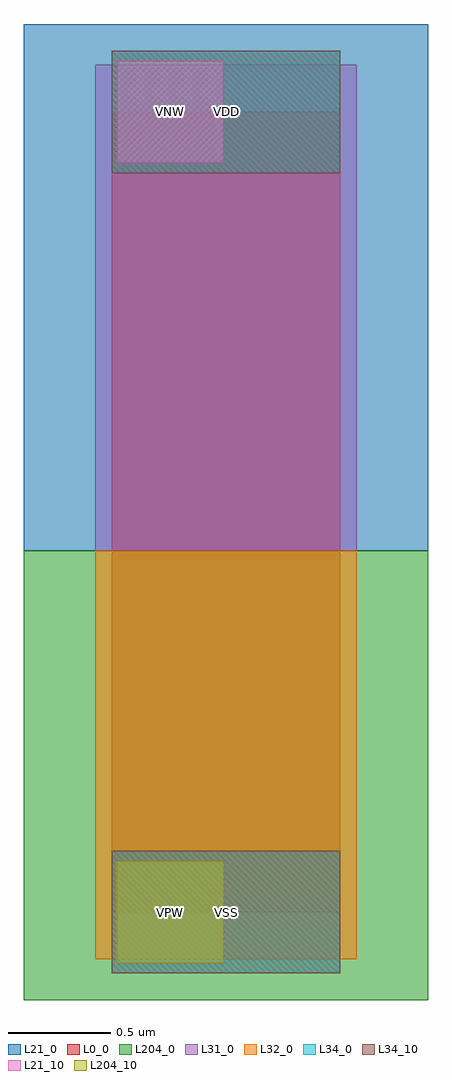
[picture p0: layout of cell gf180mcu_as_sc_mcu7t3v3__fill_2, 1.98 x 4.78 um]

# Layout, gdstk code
import gdstk
lib = gdstk.Library(unit=1e-6, precision=1e-09)
def R(c, l, rs):  # rectangles x0, y0, x1, y1
    for r in rs: c.add(gdstk.rectangle(r[:2], r[2:], *l))
L0_0 = (0, 0)
L21_0 = (21, 0)
L21_10 = (21, 10)
L31_0 = (31, 0)
L32_0 = (32, 0)
L34_0 = (34, 0)
L34_10 = (34, 10)
L204_0 = (204, 0)
L204_10 = (204, 10)

gf180mcu_as_sc_mcu7t3v3_ = lib.new_cell('gf180mcu_as_sc_mcu7t3v3__fill_2')
R(gf180mcu_as_sc_mcu7t3v3_, L0_0, [(0,0,1.12,3.92)])
R(gf180mcu_as_sc_mcu7t3v3_, L21_0, [(-0.43,1.77,1.55,4.35)])
R(gf180mcu_as_sc_mcu7t3v3_, L21_10, [(0.025,3.67,0.55,4.17)])
R(gf180mcu_as_sc_mcu7t3v3_, L31_0, [(-0.08,1.77,1.2,4.15)])
R(gf180mcu_as_sc_mcu7t3v3_, L32_0, [(-0.08,-0.23,1.2,1.77)])
R(gf180mcu_as_sc_mcu7t3v3_, L34_0, [(0,-0.3,1.12,0.3), (0,3.62,1.12,4.22)])
R(gf180mcu_as_sc_mcu7t3v3_, L34_10, [(0,-0.3,1.12,0.3), (0,3.62,1.12,4.22)])
R(gf180mcu_as_sc_mcu7t3v3_, L204_0, [(-0.43,-0.43,1.55,1.77)])
R(gf180mcu_as_sc_mcu7t3v3_, L204_10, [(0.025,-0.25,0.55,0.25)])
gf180mcu_as_sc_mcu7t3v3_.add(gdstk.Label('VDD', (0.56,3.92), layer=34, texttype=10))
gf180mcu_as_sc_mcu7t3v3_.add(gdstk.Label('VNW', (0.287,3.92), layer=21, texttype=10))
gf180mcu_as_sc_mcu7t3v3_.add(gdstk.Label('VPW', (0.287,0), layer=204, texttype=10))
gf180mcu_as_sc_mcu7t3v3_.add(gdstk.Label('VSS', (0.56,0), layer=34, texttype=10))

lib.write_gds('gf180mcu_as_sc_mcu7t3v3__fill_2.gds')
